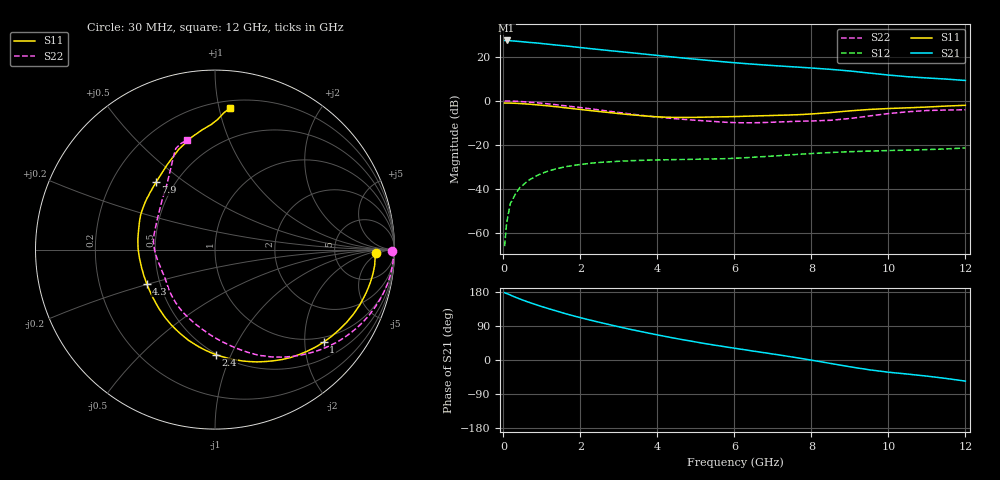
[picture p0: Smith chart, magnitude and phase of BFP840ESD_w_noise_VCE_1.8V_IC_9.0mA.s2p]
! Infineon Technologies  Discrete & RF Semiconductors
! BFP840ESD
! VCE =  1.8 V,  IC =  9.0 mA
! Common Emitter S-Parameters:  May 2012
# GHz  S  MA  R  50
!  f  S11  S21  S12  S22
! GHz  MAG  ANG  MAG  ANG  MAG  ANG  MAG  ANG
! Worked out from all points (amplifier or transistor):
!   93 points, 30 MHz to 12 GHz, reference 50 ohm
!   highest |S21| = 27.5 dB at 80 MHz (marker M1)
!   |S21| within 3 dB of that: start of sweep to 1.882 GHz
!   unconditionally stable (mu >= 1): 5.596 GHz to 9.598 GHz
!   at 1.1 GHz: K = 0.25, MSG = 29.1 dB, |S12| = -32.3 dB
!   at 4.2 GHz: K = 0.78, MSG = 23.5 dB, |S12| = -26.8 dB
!   at 12 GHz: K = 0.71, MSG = 15.3 dB, |S12| = -21.4 dB
!   lowest NFmin = 0.77 dB at 450 MHz
!   S11 on the Smith chart (normalised r, x): 30 MHz: 17, -3; 1 GHz: 0.87, -2.45; 2.4 GHz: 0.49, -0.88; 4.3 GHz: 0.42, -0.19; 7.9 GHz: 0.39, +0.39; 12 GHz: 0.25, +1.08
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0.03  0.8951 -1.2  23.62 177.6  0.0005 104.2  0.9888 -0.4
0.08  0.8934 -3.3  23.65 175.5  0.0016 62.4  0.9945 -2.4
0.18  0.8915 -7.7  23.28 171.4  0.0047 82.5  0.9911 -6.1
0.33  0.8804 -13.9  22.76 164.9  0.0082 77.9  0.9799 -11.2
0.5  0.8637 -20.9  22.07 158.2  0.0121 75.5  0.9599 -16.9
0.8  0.8238 -32.7  20.95 147.5  0.0185 67.3  0.9175 -26.2
1  0.7953 -40.4  20.11 140.9  0.0226 62.5  0.8845 -32.0
1.2  0.7645 -47.8  19.27 134.6  0.026 58.0  0.8494 -37.7
1.6  0.6989 -62.5  17.83 122.6  0.0318 49.9  0.7759 -48.3
2.1  0.6244 -79.5  15.97 109.1  0.0368 41.7  0.6886 -60.4
2.4  0.5853 -89.5  14.97 101.7  0.0393 37.3  0.6389 -67.3
2.8  0.5367 -102.9  13.78 92.2  0.0415 32.7  0.574 -76.0
3.3  0.4859 -119.8  12.48 80.8  0.0439 28.4  0.5044 -87.4
4.1  0.431 -147.0  10.58 64.2  0.0458 22.1  0.4208 -107.1
4.3  0.4254 -153.6  10.16 60.3  0.046 21.2  0.4053 -112.1
5.2  0.4273 -179.3  8.522 44.0  0.0477 18.4  0.3534 -132.7
6.1  0.4428 163.0  7.257 29.6  0.0502 18.2  0.3198 -152.4
7.9  0.4995 131.2  5.673 1.3  0.063 13.1  0.3487 168.4
8.5  0.5442 119.1  5.211 -9.1  0.0672 9.6  0.3626 152.8
9.5  0.6389 101.9  4.3 -25.8  0.0723 2.6  0.4534 126.1
10.5  0.6967 91.8  3.543 -37.2  0.076 -2.9  0.5658 114.2
12  0.7949 83.8  2.915 -55.7  0.0852 -9.5  0.6294 104.5
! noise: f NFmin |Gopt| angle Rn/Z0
0.45  0.77  0.3  2  0.14
0.9  0.78  0.3  5  0.14
1.5  0.79  0.3  11  0.13
1.9  0.8  0.3  15  0.13
2.4  0.81  0.25  26  0.12
3.5  0.82  0.17  58  0.1
5.5  0.9  0.11  136  0.1
8  1.05  0.3  -130  0.1
10  1.2  0.46  -91  0.18
12  1.41  0.6  -72  0.27
